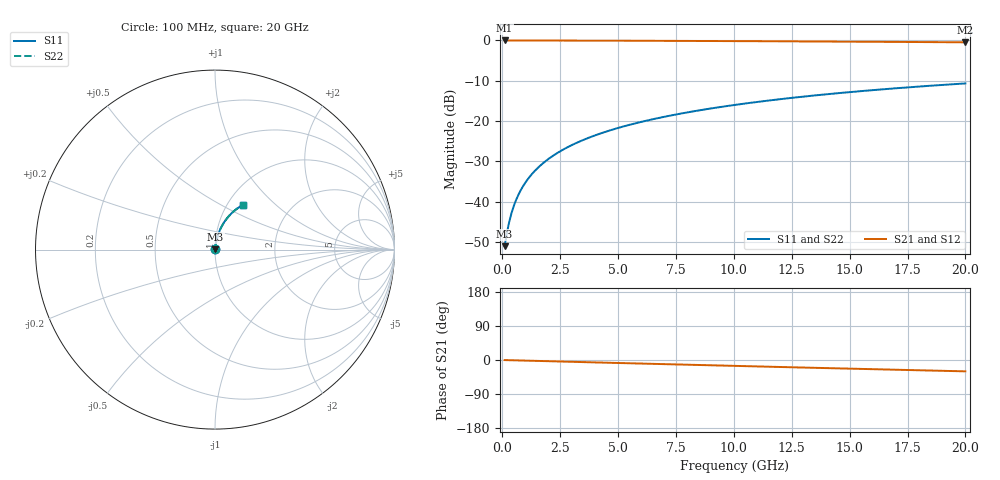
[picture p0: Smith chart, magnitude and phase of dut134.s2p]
! Touchstone file exported from HFSS 2026.1.0
!  File:  C:/ffzhzh/LocalFiles/Ansys_Project_Files/temp_train_TMRDL_134_1782982835_41620.aedt
!  Generated:  05:01:43 PM Jul  2, 2026
!  Design:  TMRDL
!  Project:  temp_train_TMRDL_134_1782982835_41620
! Variables:
!  h_bsmrdl = 2um
!  h_ox = 20um
!  h_rdl = 5um
!  h_sub = 80um
!  h_tmrdl = 5.93um
!  h_tsv = 80um
!  h_via = 3um
!  l_bsmrdl = 300um
!  l_sub = 833.03um
!  l_tmrdl = 433.03um
!  m_sub = 200um
!  pitch = 35.09um
!  r_tsv = 6um
!  s_tmrdl = 10um
!  w_bsmrdl = 18um
!  w_sub = 500um
!  w_tmrdl = 12.32um
!  x_tsv_center1 = 439.19um
!  x_tsv_center2 = 757.19um
!  x_tsv_center3 = 1202.54um
!  x_tsv_center4 = 1520.54um
!  x_tsv_center5 = 1965.89um
!  x_tsv_center6 = 2283.89um
# GHz S MA R 50.000000
! Terminal data exported
! Port[1] = TM_RDL1_1_T1
! Port[2] = TM_RDL1_1_T2
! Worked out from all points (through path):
!   200 points, 100 MHz to 20 GHz, reference 50 ohm
!   highest |S21| = -0.02 dB at 100 MHz (marker M1); lowest = -0.5 dB at 20 GHz (marker M2)
!   group delay of S21, straight-line fit = 4.16 ps
!   lowest |S11| = -51.0 dB at 100 MHz (marker M3), VSWR 1.01, Z = 50.2 + j0.179 ohm
!   |S11| at or under -10 dB: start of sweep to end of sweep
!   |S22| runs from -51.0 to -10.7 dB; largest |S21 - S12| = 4e-15
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0.1  0.002812 39.3  0.9978 -0.2  0.9978 -0.2  0.002812 39.3
! Gamma 0 0 0 0
! Port Impedance 50 0 50 0
0.2  0.004117 58.4  0.9978 -0.3  0.9978 -0.3  0.004113 58.4
0.3  0.005647 67.4  0.9977 -0.5  0.9977 -0.5  0.005642 67.4
0.4  0.007262 72.3  0.9976 -0.7  0.9976 -0.7  0.007255 72.3
0.5  0.008914 75.2  0.9975 -0.8  0.9975 -0.8  0.008907 75.2
0.6  0.01058 77.1  0.9975 -1.0  0.9975 -1.0  0.01058 77.1
0.8  0.01395 79.4  0.9974 -1.3  0.9974 -1.3  0.01394 79.4
1.1  0.019 80.9  0.9972 -1.8  0.9972 -1.8  0.019 80.9
1.3  0.02236 81.4  0.997 -2.1  0.997 -2.1  0.02236 81.4
1.5  0.02571 81.6  0.9968 -2.4  0.9968 -2.4  0.0257 81.6
1.8  0.0307 81.7  0.9965 -2.9  0.9965 -2.9  0.03069 81.7
2.1  0.03565 81.6  0.9962 -3.4  0.9962 -3.4  0.03564 81.6
2.7  0.04546 81.2  0.9954 -4.3  0.9954 -4.3  0.04545 81.2
3.5  0.05835 80.4  0.9942 -5.6  0.9942 -5.6  0.05835 80.4
4.2  0.0695 79.5  0.993 -6.7  0.993 -6.7  0.0695 79.5
5  0.0821 78.5  0.9915 -7.9  0.9915 -7.9  0.0821 78.5
6.8  0.11 76.1  0.9878 -10.7  0.9878 -10.7  0.11 76.1
8.3  0.1327 74.1  0.9843 -12.9  0.9843 -12.9  0.1327 74.1
10.1  0.1593 71.6  0.9797 -15.6  0.9797 -15.6  0.1593 71.6
13.4  0.2064 67.1  0.9698 -20.5  0.9698 -20.5  0.2064 67.1
16.7  0.251 62.5  0.9585 -25.3  0.9585 -25.3  0.251 62.5
20  0.2927 58.1  0.9461 -30.0  0.9461 -30.0  0.2927 58.1
